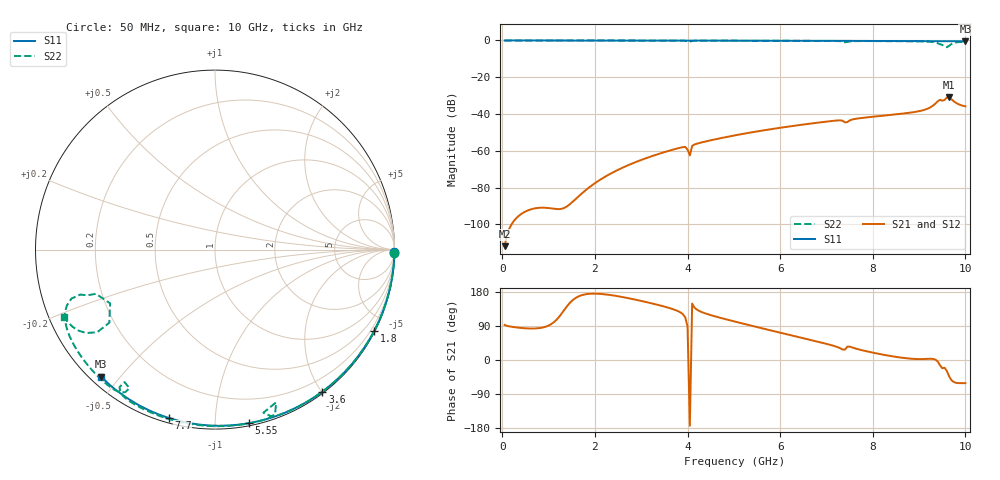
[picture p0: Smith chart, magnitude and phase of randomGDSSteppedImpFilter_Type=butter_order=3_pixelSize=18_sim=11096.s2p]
! freq	dB(S11)	phase(S11)	dB(S12)	phase(S12)
!  dB(S21)	phase(S21)	dB(S22)	phase(S22)
!S-par simulation data
#  GHz  S  DB  R 50
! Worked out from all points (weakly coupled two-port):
!   200 points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, 50 MHz to 10 GHz, reference 50 ohm
!   highest |S21| = -30.98 dB at 9.65 GHz (marker M1); lowest = -111.8 dB at 50 MHz (marker M2)
!   lowest |S11| = -0.4 dB at 10 GHz (marker M3), VSWR 39.12, Z = 1.53 - j22.3 ohm
!   |S11| at or under -10 dB: nowhere
!   |S22| runs from -3.7 to 0.0 dB; largest |S21 - S12| = 0
!   S11 on the Smith chart (normalised r, x): 50 MHz: open; 1.8 GHz: 0.04, -4.16; 3.6 GHz: 0.02, -2.01; 5.55 GHz: 0.02, -1.21; 7.7 GHz: 0.02, -0.76; 10 GHz: 0.03, -0.45
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0.05  -0.00 -0.8  -111.83 92.7  -111.83 92.7  -0.00 -0.9
1.75  -0.03 -26.3  -82.46 172.2  -82.46 172.2  -0.04 -31.9
1.8  -0.03 -27.0  -81.40 173.4  -81.40 173.4  -0.04 -32.8
2.6  -0.05 -38.7  -69.13 166.0  -69.13 166.0  -0.06 -46.8
3.4  -0.07 -50.1  -61.49 144.2  -61.49 144.2  -0.08 -60.6
3.6  -0.07 -52.9  -59.97 137.4  -59.97 137.4  -0.09 -64.1
3.95  -0.08 -57.7  -57.89 112.7  -57.89 112.7  -0.18 -71.3
4.05  -0.08 -59.1  -62.47 -173.5  -62.47 -173.5  -0.76 -68.2
4.1  -0.08 -59.7  -57.33 148.8  -57.33 148.8  -0.22 -69.9
4.15  -0.08 -60.4  -56.56 138.4  -56.56 138.4  -0.15 -71.5
5.05  -0.11 -72.5  -51.46 100.5  -51.46 100.5  -0.14 -87.1
5.55  -0.13 -78.9  -49.25 85.4  -49.25 85.4  -0.16 -95.0
6.7  -0.18 -93.4  -45.05 51.6  -45.05 51.6  -0.22 -112.8
7.4  -0.22 -101.8  -44.53 27.4  -44.53 27.4  -0.98 -124.3
7.7  -0.24 -105.4  -42.34 27.8  -42.34 27.8  -0.34 -126.6
8.35  -0.29 -113.0  -40.56 11.2  -40.56 11.2  -0.37 -137.4
9  -0.34 -120.5  -38.45 2.4  -38.45 2.4  -0.51 -149.2
9.3  -0.37 -123.9  -35.44 2.9  -35.44 2.9  -0.87 -157.4
9.55  -0.39 -126.8  -32.37 -20.5  -32.37 -20.5  -3.00 -159.6
9.65  -0.40 -127.9  -30.98 -43.4  -30.98 -43.4  -2.90 -145.3
9.75  -0.41 -129.0  -33.08 -58.1  -33.08 -58.1  -1.36 -147.1
10  -0.44 -131.9  -35.78 -61.0  -35.78 -61.0  -0.71 -156.1
